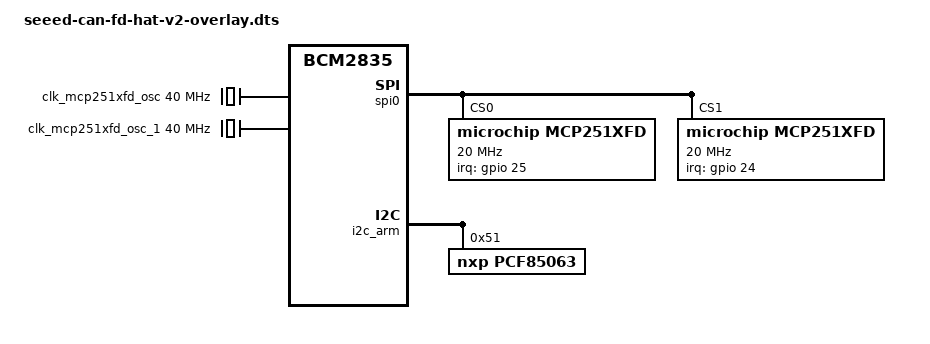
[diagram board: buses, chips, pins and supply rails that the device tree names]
// redo: ovmerge -c mcp251xfd-overlay.dts,spi0-0,interrupt=25 mcp251xfd-overlay.dts,spi0-1,interrupt=24 i2c-rtc-overlay.dts,pcf85063

// Device tree overlay for https://www.seeedstudio.com/CAN-BUS-FD-HAT-for-Raspberry-Pi-p-4742.html 

/dts-v1/;
/plugin/;

#include <dt-bindings/gpio/gpio.h>
#include <dt-bindings/interrupt-controller/irq.h>
#include <dt-bindings/pinctrl/bcm2835.h>

/ {
	compatible = "brcm,bcm2835";
	fragment@0 {
		target = <&spidev0>;
		__overlay__ {
			status = "disabled";
		};
	};
	fragment@1 {
		target = <&gpio>;
		__overlay__ {
			mcp251xfd_pins: mcp251xfd_spi0_0_pins {
				brcm,pins = <25>;
				brcm,function = <BCM2835_FSEL_GPIO_IN>;
			};
		};
	};
	fragment@2 {
		target-path = "/clocks";
		__overlay__ {
			clk_mcp251xfd_osc: mcp251xfd-spi0-0-osc {
				#clock-cells = <0>;
				compatible = "fixed-clock";
				clock-frequency = <40000000>;
			};
		};
	};
	fragment@3 {
		target = <&spi0>;
		__overlay__ {
			status = "okay";
			#address-cells = <1>;
			#size-cells = <0>;
			mcp251xfd@0 {
				compatible = "microchip,mcp251xfd";
				reg = <0>;
				pinctrl-names = "default";
				pinctrl-0 = <&mcp251xfd_pins>;
				spi-max-frequency = <20000000>;
				interrupt-parent = <&gpio>;
				interrupts = <25 IRQ_TYPE_LEVEL_LOW>;
				clocks = <&clk_mcp251xfd_osc>;
			};
		};
	};
	fragment@4 {
		target = <&spidev1>;
		__overlay__ {
			status = "disabled";
		};
	};
	fragment@5 {
		target = <&gpio>;
		__overlay__ {
			mcp251xfd_pins_1: mcp251xfd_spi0_1_pins {
				brcm,pins = <24>;
				brcm,function = <BCM2835_FSEL_GPIO_IN>;
			};
		};
	};
	fragment@6 {
		target-path = "/clocks";
		__overlay__ {
			clk_mcp251xfd_osc_1: mcp251xfd-spi0-1-osc {
				#clock-cells = <0>;
				compatible = "fixed-clock";
				clock-frequency = <40000000>;
			};
		};
	};
	fragment@7 {
		target = <&spi0>;
		__overlay__ {
			status = "okay";
			#address-cells = <1>;
			#size-cells = <0>;
			mcp251xfd@1 {
				compatible = "microchip,mcp251xfd";
				reg = <1>;
				pinctrl-names = "default";
				pinctrl-0 = <&mcp251xfd_pins_1>;
				spi-max-frequency = <20000000>;
				interrupt-parent = <&gpio>;
				interrupts = <24 IRQ_TYPE_LEVEL_LOW>;
				clocks = <&clk_mcp251xfd_osc_1>;
			};
		};
	};
	fragment@8 {
		target = <&i2c_arm>;
		__overlay__ {
			status = "okay";
			#address-cells = <1>;
			#size-cells = <0>;
			pcf85063@51 {
				compatible = "nxp,pcf85063";
				reg = <0x51>;
			};
		};
	};
};
